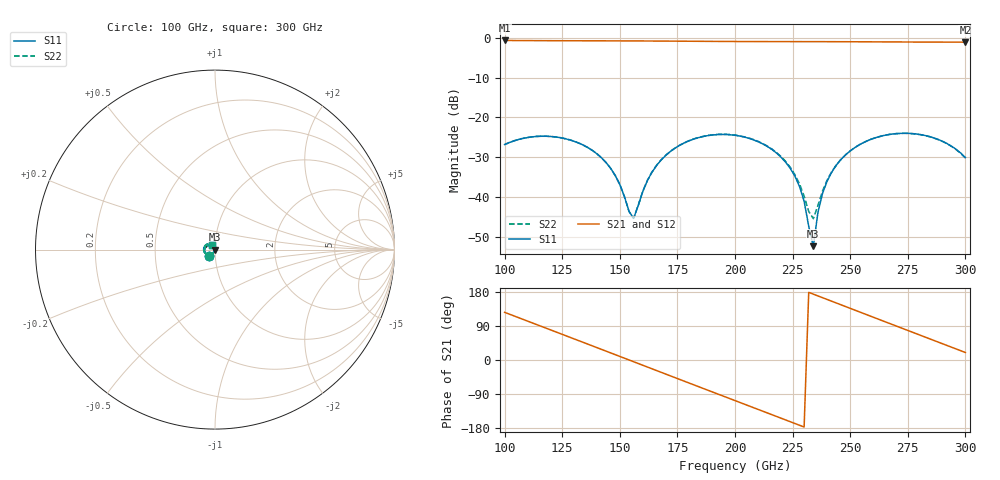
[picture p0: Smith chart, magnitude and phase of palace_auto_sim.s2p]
#  GHZ S DB R 50
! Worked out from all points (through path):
!   101 points, 100 GHz to 300 GHz, reference 50 ohm
!   highest |S21| = -0.70 dB at 100 GHz (marker M1); lowest = -1.1 dB at 300 GHz (marker M2)
!   group delay of S21, straight-line fit = 6.47 ps
!   lowest |S11| = -52.3 dB at 234 GHz (marker M3), VSWR 1.00, Z = 49.8 - j0.112 ohm
!   |S11| at or under -10 dB: start of sweep to end of sweep
!   |S22| runs from -45.4 to -24.0 dB; largest |S21 - S12| = 1e-13
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100  -26.83 -133.5  -0.70 125.8  -0.70 125.8  -26.82 -133.3
116  -24.74 -168.8  -0.75 88.6  -0.75 88.6  -24.72 -168.4
124  -25.08 173.6  -0.77 70.0  -0.77 70.0  -25.07 174.1
134  -26.92 152.3  -0.79 46.8  -0.79 46.8  -26.91 152.8
146  -32.76 131.3  -0.80 18.8  -0.80 18.8  -32.76 132.0
156  -45.33 -165.7  -0.82 -4.6  -0.82 -4.6  -45.25 -164.4
162  -35.83 -118.5  -0.84 -18.6  -0.84 -18.6  -35.77 -117.7
168  -30.66 -123.7  -0.86 -32.6  -0.86 -32.6  -30.61 -122.8
184  -25.11 -155.8  -0.91 -69.9  -0.91 -69.9  -25.07 -154.6
200  -24.50 168.4  -0.97 -107.1  -0.97 -107.1  -24.44 170.2
214  -27.29 137.3  -0.99 -139.6  -0.99 -139.6  -27.19 140.6
224  -32.81 117.0  -1.00 -162.9  -1.00 -162.9  -32.54 124.0
230  -41.03 112.0  -1.00 -176.9  -1.00 -176.9  -39.74 128.4
234  -52.31 -152.3  -1.00 173.8  -1.00 173.8  -45.41 -171.5
236  -43.84 -114.7  -1.01 169.1  -1.01 169.1  -42.08 -138.2
238  -39.06 -110.9  -1.01 164.4  -1.01 164.4  -38.46 -126.7
244  -31.99 -118.3  -1.02 150.4  -1.02 150.4  -31.91 -126.0
254  -26.87 -138.6  -1.04 127.0  -1.04 127.0  -26.87 -143.1
268  -24.20 -169.1  -1.08 94.3  -1.08 94.3  -24.21 -172.5
282  -24.48 160.2  -1.11 61.7  -1.11 61.7  -24.51 156.8
292  -26.56 139.1  -1.12 38.4  -1.12 38.4  -26.61 134.8
300  -30.07 124.2  -1.13 19.8  -1.13 19.8  -30.19 117.9
